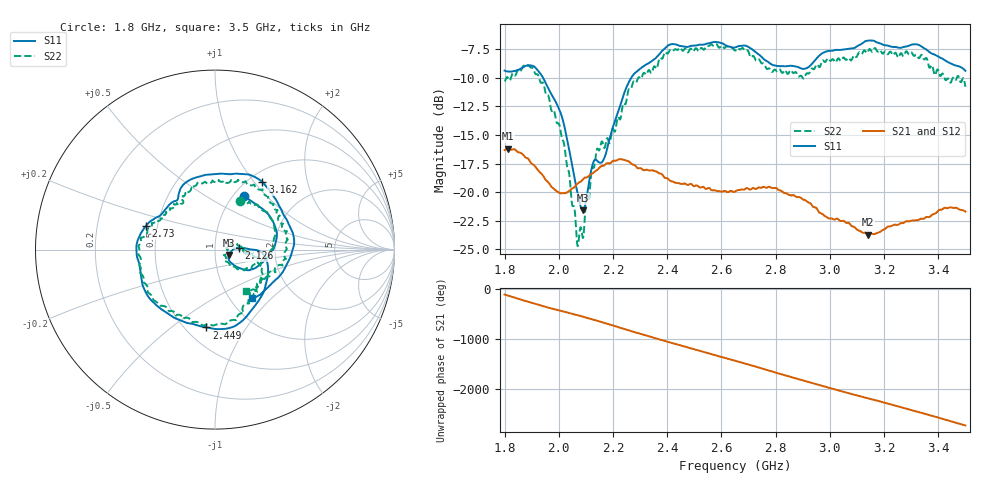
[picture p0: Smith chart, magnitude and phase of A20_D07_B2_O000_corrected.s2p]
! Created with skrf 1.9.0 (http://scikit-rf.org).
# Hz S RI R 50.0
!freq ReS11 ImS11 ReS21 ImS21 ReS12 ImS12 ReS22 ImS22
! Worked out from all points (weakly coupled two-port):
!   1601 points, 1.8 GHz to 3.5 GHz, reference 50 ohm
!   highest |S21| = -16.21 dB at 1.812 GHz (marker M1); lowest = -23.7 dB at 3.142 GHz (marker M2)
!   lowest |S11| = -21.6 dB at 2.089 GHz (marker M3), VSWR 1.18, Z = 58.3 - j3.44 ohm
!   |S11| at or under -10 dB: 1.942 GHz to 2.267 GHz (324.6 MHz wide, 15.4 % of centre)
!   |S22| runs from -24.7 to -7.0 dB; largest |S21 - S12| = 0.0029
!   S11 on the Smith chart (normalised r, x): 1.8 GHz: 1.12, +0.76; 2.126 GHz: 1.31, +0.02; 2.449 GHz: 0.63, -0.67; 2.73 GHz: 0.43, +0.13; 3.162 GHz: 1.15, +1.10; 3.5 GHz: 1.26, -0.77
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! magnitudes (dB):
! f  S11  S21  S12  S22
! 1.8 GHz  -9.4  -16.3  -16.3  -10.3
! 1.812 GHz  -9.4  -16.2  -16.2  -10.0
! 1.886 GHz  -8.9  -17.1  -17.1  -8.9
! 1.941 GHz  -10.0  -18.5  -18.6  -10.4
! 2.011 GHz  -13.4  -20.1  -20.1  -15.3
! 2.067 GHz  -19.8  -19.3  -19.3  -24.3
! 2.084 GHz  -21.5  -19.0  -19.0  -23.3
! 2.089 GHz  -21.6  -18.9  -18.9  -24.0
! 2.126 GHz  -17.5  -18.3  -18.3  -17.9
! 2.167 GHz  -17.1  -17.7  -17.7  -16.1
! 2.266 GHz  -10.0  -17.5  -17.5  -10.9
! 2.367 GHz  -8.0  -18.3  -18.3  -8.6
! 2.449 GHz  -7.2  -19.3  -19.3  -7.4
! 2.65 GHz  -7.3  -20.0  -19.9  -7.6
! 2.73 GHz  -7.8  -19.7  -19.7  -8.5
! 2.899 GHz  -9.2  -20.6  -20.6  -10.0
! 2.934 GHz  -8.8  -21.2  -21.1  -9.2
! 3.142 GHz  -6.7  -23.7  -23.6  -7.6
! 3.162 GHz  -6.7  -23.7  -23.7  -7.5
! 3.217 GHz  -7.2  -23.0  -23.0  -7.8
! 3.325 GHz  -7.1  -22.5  -22.4  -8.2
! 3.5 GHz  -9.4  -21.7  -21.7  -10.8
